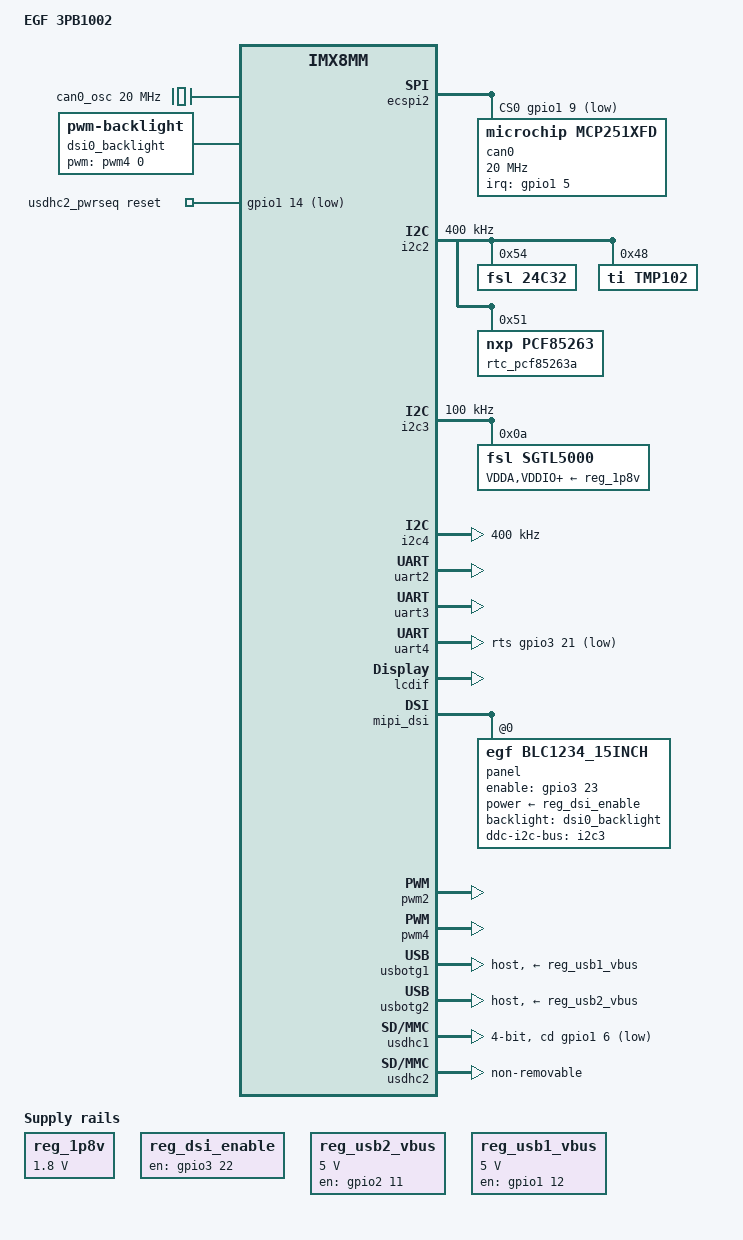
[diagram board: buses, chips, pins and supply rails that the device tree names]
/dts-v1/;

 #include "imx8mm-egf-3sm1008m.dtsi"
 
 / {
	 model = "EGF 3PB1002";


	 can0_osc: can0_osc {
		compatible = "fixed-clock";
		#clock-cells = <0>;
		clock-frequency = <20000000>;
	};


	reg_1p8v: regulator-1p8v {
		compatible = "regulator-fixed";
		regulator-name = "1P8V";
		regulator-min-microvolt = <1800000>;
		regulator-max-microvolt = <1800000>;
		regulator-always-on;
	};



	sound {
		compatible = "simple-audio-card";
		pinctrl-names = "default";
		simple-audio-card,format = "i2s";


		simple-audio-card,cpu {
			sound-dai = <&sai2>;
		};

		simple-audio-card,codec {
			sound-dai = <&sgtl5000>;
			clocks = <&clk IMX8MM_CLK_SAI2_ROOT>;
			frame-master;
			bitclock-master;
		};
	};

	// sound {
	// 	compatible = "fsl,imx-audio-sgtl5000";
	// 	model = "sgtl5000-audio";
	// 	audio-cpu = <&sai2>;
	// 	audio-codec = <&codec>;
	// 	audio-routing =
	// 		"Headphone Jack", "HP_OUT";
	// 	fsl,no-audmux;
	// };

	reg_dsi_enable: regulatorble-dsi-ena  {
		compatible = "regulator-fixed";
		regulator-name = "dsi-enable";	
		gpio = <&gpio3 22 GPIO_ACTIVE_HIGH>;
		enable-active-high;
		regulator-always-on;
	};

	dsi0_backlight: backlight {
		compatible = "pwm-backlight";
		pwms = <&pwm4 0 100000 0>;
		status = "okay";

		brightness-levels = < 0  1  2  3  4  5  6  7  8  9
				     10 11 12 13 14 15 16 17 18 19
				     20 21 22 23 24 25 26 27 28 29
				     30 31 32 33 34 35 36 37 38 39
				     40 41 42 43 44 45 46 47 48 49
				     50 51 52 53 54 55 56 57 58 59
				     60 61 62 63 64 65 66 67 68 69
				     70 71 72 73 74 75 76 77 78 79
				     80 81 82 83 84 85 86 87 88 89
				     90 91 92 93 94 95 96 97 98 99
				    100>;
		default-brightness-level = <80>;
    };

	reg_usb2_vbus: regulator-usb2 {
		compatible = "regulator-fixed";
		pinctrl-names = "default";
		pinctrl-0 = <&pinctrl_usb2_vbus>;
		regulator-name = "usb2_vbus";
		regulator-min-microvolt = <5000000>;
		regulator-max-microvolt = <5000000>;
		gpio = <&gpio2 11 0>;
		regulator-boot-on;
		regulator-always-on;
		enable-active-high;
	};

	reg_usb1_vbus: regulator-usb1 {
		compatible = "regulator-fixed";
		pinctrl-names = "default";
		pinctrl-0 = <&pinctrl_usb1_vbus>;
		regulator-name = "usb1_vbus";
		regulator-min-microvolt = <5000000>;
		regulator-max-microvolt = <5000000>;
		gpio = <&gpio1 12 0>;
		enable-active-high;
	};

	usdhc2_pwrseq: usdhc2_pwrseq {
		compatible = "mmc-pwrseq-simple";
		pinctrl-names = "default";
		pinctrl-0 = <&pinctrl_usdhc2_pwrseq>;
		reset-gpios = <&gpio1 14 GPIO_ACTIVE_LOW>;
	};



 
 };

 &ecspi2 {
	#address-cells = <1>;
	#size-cells = <0>;
	fsl,spi-num-chipselects = <2>;
	pinctrl-names = "default";
	pinctrl-0 = <&pinctrl_ecspi2 &pinctrl_ecspi2_cs>;
	cs-gpios =  <&gpio1 9 GPIO_ACTIVE_LOW>;
	dmas = <>;
	dma-names = "";
	status = "okay";



	/* CAN controller */
	can0: can@0 {
		compatible = "microchip,mcp251xfd";
		reg = <0>;
		pinctrl-names = "default";
		pinctrl-0 = <&pinctrl_can>;
		clocks = <&can0_osc>;
		interrupt-parent = <&gpio1>;
		interrupts = <5 IRQ_TYPE_EDGE_FALLING>;
		spi-max-frequency = <20000000>;
		status = "okay";
	};
};


&i2c2 {
	clock-frequency = <400000>;
	pinctrl-names = "default";
	pinctrl-0 = <&pinctrl_i2c2>;
	status = "okay";

	// EEPROM factory data (som)
	24c32@54 {
		compatible = "fsl,24c32";
		reg = <0x54>;
		pagesize = <32>;
	};


	// temp sensor
	tmp102@48 {
		reg = <0x48>;
		pinctrl-names = "default";
		pinctrl-0 = <&pinctrl_temp_sensor>;
		compatible = "ti,tmp102";
	};

	// RTC
	rtc_pcf85263a: rtc@51{
		compatible = "nxp,pcf85263";
		#clock-cells = <0>;
		reg = <0x51>;
	};

	

};


&i2c3 {
	clock-frequency = <100000>;
	pinctrl-names = "default";
	pinctrl-0 = <&pinctrl_i2c3>;
	status = "okay";

	sgtl5000: sgtl5000@a {
		#sound-dai-cells = <0>;
		compatible = "fsl,sgtl5000";
		clocks = <&clk IMX8MM_CLK_SAI2_ROOT>;
		assigned-clocks = <&clk IMX8MM_CLK_SAI2>;
		assigned-clock-parents = <&clk IMX8MM_AUDIO_PLL1_OUT>;
		assigned-clock-rates = <24576000>;
		reg = <0x0a>;
		VDDA-supply = <&reg_1p8v>;
		VDDIO-supply = <&reg_1p8v>;
		VDDD-supply = <&reg_1p8v>;
		clock-names = "mclk";
	};


};

&i2c4 {
	clock-frequency = <400000>;
	pinctrl-names = "default";
	pinctrl-0 = <&pinctrl_i2c4>;
	status = "okay";
};



&uart2 { /* Multi std UART */
	pinctrl-names = "default";
	pinctrl-0 = <&pinctrl_uart2>;
	assigned-clocks = <&clk IMX8MM_CLK_UART2>;
	assigned-clock-parents = <&clk IMX8MM_SYS_PLL1_80M>;
	fsl,uart-has-rtscts;
	status = "okay";
};

&uart3 { /* Bluetooth */
	pinctrl-names = "default";
	pinctrl-0 = <&pinctrl_uart3>;
	assigned-clocks = <&clk IMX8MM_CLK_UART3>;
	assigned-clock-parents = <&clk IMX8MM_SYS_PLL1_80M>;
	fsl,uart-has-rtscts;
	status = "okay";
};

&uart4 {  /* RS-485 */
	pinctrl-names = "default";
	pinctrl-0 = <&pinctrl_uart4>;
	assigned-clocks = <&clk IMX8MM_CLK_UART4>;
	assigned-clock-parents = <&clk IMX8MM_SYS_PLL1_80M>;
	linux,rs485-enabled-at-boot-time;
	linux,rs485-rts-after-send;
	rts-gpios = <&gpio3 21 GPIO_ACTIVE_LOW>;
	status = "okay";
};

&lcdif {
       status = "okay";
};

&mipi_dsi {
	status = "okay";
	panel@0 {
		compatible = "egf,blc1234_15inch";
        reg = <0>;
       	dsi-lanes = <4>;
        pinctrl-names = "default";
		ddc-i2c-bus = <&i2c3>;		
		enable-gpio = <&gpio3 23 GPIO_ACTIVE_HIGH>;
		power-supply =  <&reg_dsi_enable>;
		backlight = <&dsi0_backlight>;		
		status = "okay";
	};


};



&pwm2 {
	status = "okay";
	pinctrl-names = "default";
	pinctrl-0 = <&pinctrl_pwm2>;
};

&pwm4 {
	status = "okay";
	pinctrl-names = "default";
	pinctrl-0 = <&pinctrl_pwm4>;
};


&usbotg1 {
	dr_mode = "host";
	vbus-supply = <&reg_usb1_vbus>;
	status = "okay";

};


&usbotg2 {
	dr_mode = "host";
	vbus-supply = <&reg_usb2_vbus>;
	status = "okay";

};



&usdhc1 {
	assigned-clocks = <&clk IMX8MM_CLK_USDHC1>;
	assigned-clock-rates = <400000000>;
	pinctrl-names = "default", "state_100mhz", "state_200mhz";
	pinctrl-0 = <&pinctrl_usdhc1>, <&pinctrl_usdhc1_gpio>;
	pinctrl-1 = <&pinctrl_usdhc1_100mhz>, <&pinctrl_usdhc1_gpio>;
	pinctrl-2 = <&pinctrl_usdhc1_200mhz>, <&pinctrl_usdhc1_gpio>;
	cd-gpios = <&gpio1 6 GPIO_ACTIVE_LOW>;
	bus-width = <4>;
	no-1-8-v;
	status = "okay";
};

&usdhc2 {
	pinctrl-names = "default", "state_100mhz", "state_200mhz";
	pinctrl-0 = <&pinctrl_usdhc2>;
	pinctrl-1 = <&pinctrl_usdhc2_100mhz>;
	pinctrl-2 = <&pinctrl_usdhc2_200mhz>;
	keep-power-in-suspend;
	non-removable;
	wakeup-source;
	mmc-pwrseq = <&usdhc2_pwrseq>;
	/*vmmc-supply = <&reg_usdhc1_vmmc>;*/
	status = "okay";

	// wifi_wake_host {
	// 	compatible = "nxp,wifi-wake-host";
	// 	interrupt-parent = <&gpio2>;
	// 	interrupts = <9 IRQ_TYPE_LEVEL_LOW>;
	// 	interrupt-names = "host-wake";
	// };
};





&iomuxc {
	pinctrl-names = "default";
	pinctrl-0 = <&pinctrl_exp_conn_gpios>;
	


	pinctrl_ecspi2: ecspi2grp {
		fsl,pins = <
			MX8MM_IOMUXC_ECSPI2_SCLK_ECSPI2_SCLK		0x82
			MX8MM_IOMUXC_ECSPI2_MOSI_ECSPI2_MOSI		0x82
			MX8MM_IOMUXC_ECSPI2_MISO_ECSPI2_MISO		0x82
		>;
	};

	pinctrl_ecspi2_cs: ecspi2cs {
		fsl,pins = <
			MX8MM_IOMUXC_GPIO1_IO09_GPIO1_IO9		0x40000		/* SPI <=> CAN Bus Bridge CS (optional) */
		>;
	};

	pinctrl_can: cangrp {
		fsl,pins = <
			MX8MM_IOMUXC_GPIO1_IO05_GPIO1_IO5		0x16
		>;
	};



	pinctrl_i2c2: i2c2grp {
		fsl,pins = <
			MX8MM_IOMUXC_I2C2_SCL_I2C2_SCL			0x400000c3
			MX8MM_IOMUXC_I2C2_SDA_I2C2_SDA			0x400000c3
		>;
	};


	pinctrl_i2c3: i2c3grp {
		fsl,pins = <
			MX8MM_IOMUXC_I2C3_SCL_I2C3_SCL			0x400001c3
			MX8MM_IOMUXC_I2C3_SDA_I2C3_SDA			0x400001c3
		>;
	};


	pinctrl_i2c4: i2c4grp {
		fsl,pins = <
			MX8MM_IOMUXC_I2C4_SCL_I2C4_SCL			0x400001c3
			MX8MM_IOMUXC_I2C4_SDA_I2C4_SDA			0x400001c3
		>;
	};	


	pinctrl_temp_sensor: tempgrp {
		fsl,pins = <
			MX8MM_IOMUXC_SAI1_RXC_GPIO4_IO1     	0x1C6
		>;
	};	

	pinctrl_exp_conn_gpios: expconngpiosgrp {
		fsl,pins = <
			MX8MM_IOMUXC_SAI1_MCLK_GPIO4_IO20		0x16
			MX8MM_IOMUXC_SAI1_RXFS_GPIO4_IO0		0x16
		>;
	};

	pinctrl_uart2: uart2grp {
		fsl,pins = <
			MX8MM_IOMUXC_SAI3_TXFS_UART2_DCE_RX		0x156
			MX8MM_IOMUXC_SAI3_TXC_UART2_DCE_TX		0x156
			MX8MM_IOMUXC_SAI3_RXC_UART2_DCE_CTS_B	0x156
			MX8MM_IOMUXC_SAI3_RXD_UART2_DCE_RTS_B	0x156

			MX8MM_IOMUXC_SAI3_TXD_GPIO5_IO1            0x00000116  //label: UART2-RS485-ECHO
			MX8MM_IOMUXC_SAI5_RXC_GPIO3_IO20           0x00000116  //label: UART2-SLEW
			MX8MM_IOMUXC_SAI5_RXD3_GPIO3_IO24          0x00000116  //label: UART2-SHDN
			MX8MM_IOMUXC_UART3_RXD_GPIO5_IO26          0x00001916  //label: UART2-RS232-RS485-MODE
			MX8MM_IOMUXC_UART3_TXD_GPIO5_IO27          0x00000116  //label: UART2-RS485-DUPLEX-SE
		>;
	};
	
	pinctrl_uart3: uart3grp {
		fsl,pins = <
			MX8MM_IOMUXC_ECSPI1_SCLK_UART3_DCE_RX		0x96
			MX8MM_IOMUXC_ECSPI1_MOSI_UART3_DCE_TX		0x96
			MX8MM_IOMUXC_ECSPI1_MISO_UART3_DCE_CTS_B	0x96
			MX8MM_IOMUXC_ECSPI1_SS0_UART3_DCE_RTS_B		0x96
		>;
	};

	pinctrl_uart4: uart4grp {
		fsl,pins = <
			MX8MM_IOMUXC_UART4_RXD_UART4_DCE_RX		0x40
			MX8MM_IOMUXC_UART4_TXD_UART4_DCE_TX		0x40
			MX8MM_IOMUXC_SAI5_RXD0_GPIO3_IO21		0x40
		>;
	};

	pinctrl_pwm2: pwm2grp {
		fsl,pins = <
			MX8MM_IOMUXC_GPIO1_IO13_PWM2_OUT		0x06
		>;
	};

	pinctrl_pwm4: pwm4grp {
		fsl,pins = <
			MX8MM_IOMUXC_SAI3_MCLK_PWM4_OUT		0x06
		>;
	};

	pinctrl_usb1_vbus: usb1grp {
		fsl,pins = <
			MX8MM_IOMUXC_GPIO1_IO12_GPIO1_IO12		0x6
		>;
	};


	pinctrl_usb2_vbus: usb2grp {
		fsl,pins = <
			MX8MM_IOMUXC_SD1_STROBE_GPIO2_IO11		0x6
		>;
	};

	pinctrl_usdhc1_gpio: usdhc1grpgpio {
		fsl,pins = <
		MX8MM_IOMUXC_GPIO1_IO06_GPIO1_IO6	0x0c4
		>;
	};

	pinctrl_usdhc1: usdhc1grp {
		fsl,pins = <
		MX8MM_IOMUXC_SD1_CLK_USDHC1_CLK		0x190
		MX8MM_IOMUXC_SD1_CMD_USDHC1_CMD		0x1d0
		MX8MM_IOMUXC_SD1_DATA0_USDHC1_DATA0	0x1d0
		MX8MM_IOMUXC_SD1_DATA1_USDHC1_DATA1	0x1d0
		MX8MM_IOMUXC_SD1_DATA2_USDHC1_DATA2	0x1d0
		MX8MM_IOMUXC_SD1_DATA3_USDHC1_DATA3	0x1d0
		>;
	};

	pinctrl_usdhc1_100mhz: usdhc1-100mhzgrp {
		fsl,pins = <
		MX8MM_IOMUXC_SD1_CLK_USDHC1_CLK		0x194
		MX8MM_IOMUXC_SD1_CMD_USDHC1_CMD		0x1d4
		MX8MM_IOMUXC_SD1_DATA0_USDHC1_DATA0	0x1d4
		MX8MM_IOMUXC_SD1_DATA1_USDHC1_DATA1	0x1d4
		MX8MM_IOMUXC_SD1_DATA2_USDHC1_DATA2	0x1d4
		MX8MM_IOMUXC_SD1_DATA3_USDHC1_DATA3	0x1d4
		>;
	};

	pinctrl_usdhc1_200mhz: usdhc1-200mhzgrp {
		fsl,pins = <
		MX8MM_IOMUXC_SD1_CLK_USDHC1_CLK		0x196
		MX8MM_IOMUXC_SD1_CMD_USDHC1_CMD		0x1d6
		MX8MM_IOMUXC_SD1_DATA0_USDHC1_DATA0	0x1d6
		MX8MM_IOMUXC_SD1_DATA1_USDHC1_DATA1	0x1d6
		MX8MM_IOMUXC_SD1_DATA2_USDHC1_DATA2	0x1d6
		MX8MM_IOMUXC_SD1_DATA3_USDHC1_DATA3	0x1d6
		>;
	};


	pinctrl_usdhc2: usdhc2grp {
		fsl,pins = <
			MX8MM_IOMUXC_SD2_CLK_USDHC2_CLK	0x190
			MX8MM_IOMUXC_SD2_CMD_USDHC2_CMD	0x1d0
			MX8MM_IOMUXC_SD2_DATA0_USDHC2_DATA0	0x1d0
			MX8MM_IOMUXC_SD2_DATA1_USDHC2_DATA1	0x1d0
			MX8MM_IOMUXC_SD2_DATA2_USDHC2_DATA2	0x1d0
			MX8MM_IOMUXC_SD2_DATA3_USDHC2_DATA3	0x1d0
		>;
	};

	pinctrl_usdhc2_100mhz: usdhc2-100mhzgrp {
		fsl,pins = <
		MX8MM_IOMUXC_SD2_CLK_USDHC2_CLK	0x194
			MX8MM_IOMUXC_SD2_CMD_USDHC2_CMD	0x1d4
			MX8MM_IOMUXC_SD2_DATA0_USDHC2_DATA0	0x1d4
			MX8MM_IOMUXC_SD2_DATA1_USDHC2_DATA1	0x1d4
			MX8MM_IOMUXC_SD2_DATA2_USDHC2_DATA2	0x1d4
			MX8MM_IOMUXC_SD2_DATA3_USDHC2_DATA3	0x1d4
		>;
	};

	pinctrl_usdhc2_200mhz: usdhc2-200mhzgrp {
		fsl,pins = <
		MX8MM_IOMUXC_SD2_CLK_USDHC2_CLK	0x196
			MX8MM_IOMUXC_SD2_CMD_USDHC2_CMD	0x1d6
			MX8MM_IOMUXC_SD2_DATA0_USDHC2_DATA0	0x1d6
			MX8MM_IOMUXC_SD2_DATA1_USDHC2_DATA1	0x1d6
			MX8MM_IOMUXC_SD2_DATA2_USDHC2_DATA2	0x1d6
			MX8MM_IOMUXC_SD2_DATA3_USDHC2_DATA3	0x1d6
		>;
	};

	pinctrl_usdhc2_pwrseq: usdhc2pwrseq {
		fsl,pins = <
		MX8MM_IOMUXC_GPIO1_IO14_GPIO1_IO14	0x140
		>;
	};

		
};
